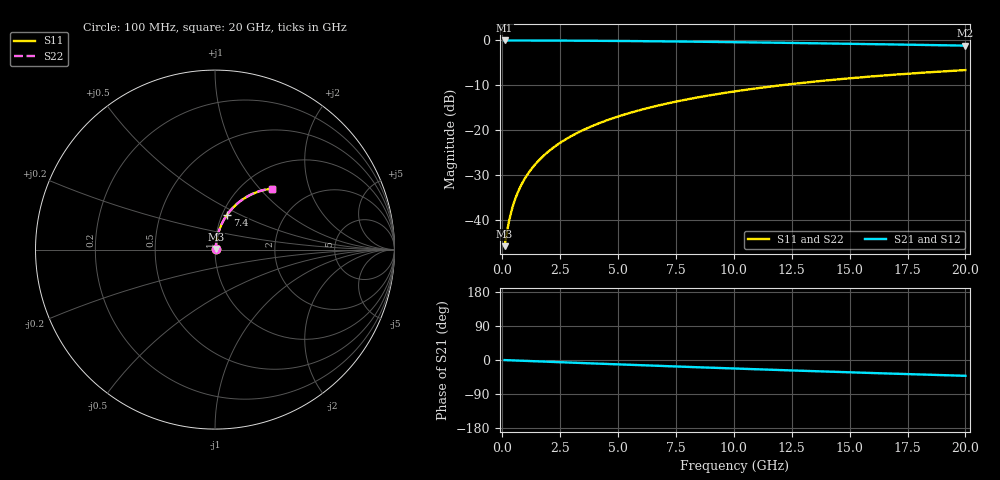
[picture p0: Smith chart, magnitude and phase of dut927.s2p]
! Touchstone file exported from HFSS 2026.1.0
!  File:  C:/ffzhzh/LocalFiles/Ansys_Project_Files/temp_train_BSMRDL_927_1783171851_51560.aedt
!  Generated:  09:32:03 PM Jul  4, 2026
!  Design:  BSMRDL
!  Project:  temp_train_BSMRDL_927_1783171851_51560
! Variables:
!  h_bsmrdl = 3.61um
!  h_ox = 20um
!  h_rdl = 5um
!  h_sub = 80um
!  h_tmrdl = 5um
!  h_tsv = 80um
!  h_via = 3um
!  l_bsmrdl = 544.67um
!  l_sub = 944.67um
!  l_tmrdl = 200um
!  m_sub = 200um
!  pitch = 48.61um
!  r_tsv = 6um
!  s_tmrdl = 10um
!  w_bsmrdl = 13.26um
!  w_sub = 500um
!  w_tmrdl = 12um
!  x_tsv_center1 = 206um
!  x_tsv_center2 = 763.93um
!  x_tsv_center3 = 975.93um
!  x_tsv_center4 = 1533.86um
!  x_tsv_center5 = 1745.86um
!  x_tsv_center6 = 2303.79um
# GHz S MA R 50.000000
! Terminal data exported
! Port[1] = BSM_RDL1_1_T1
! Port[2] = BSM_RDL1_1_T2
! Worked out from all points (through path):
!   200 points, 100 MHz to 20 GHz, reference 50 ohm
!   highest |S21| = -0.04 dB at 100 MHz (marker M1); lowest = -1.2 dB at 20 GHz (marker M2)
!   group delay of S21, straight-line fit = 5.8 ps
!   lowest |S11| = -45.9 dB at 100 MHz (marker M3), VSWR 1.01, Z = 50.4 + j0.303 ohm
!   |S11| at or under -10 dB: start of sweep to 12.07 GHz
!   |S22| runs from -45.9 to -6.6 dB; largest |S21 - S12| = 2.7e-15
!   S11 on the Smith chart (normalised r, x): 100 MHz: 1.01, +0.01; 7.4 GHz: 1.06, +0.43; 20 GHz: 1.35, +1.17
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0.1  0.005099 36.1  0.9959 -0.2  0.9959 -0.2  0.005099 36.1
! Gamma 0 0 0 0
! Port Impedance 50 0 50 0
0.2  0.007323 54.8  0.9958 -0.5  0.9958 -0.5  0.007323 54.8
0.3  0.009944 63.9  0.9957 -0.7  0.9957 -0.7  0.009944 63.9
0.4  0.01269 69.0  0.9956 -1.0  0.9956 -1.0  0.01269 69.0
0.5  0.01548 72.2  0.9955 -1.2  0.9955 -1.2  0.01548 72.2
0.6  0.01829 74.3  0.9953 -1.4  0.9953 -1.4  0.01829 74.3
0.8  0.02393 76.9  0.9951 -1.9  0.9951 -1.9  0.02393 76.9
1.1  0.03243 78.9  0.9947 -2.6  0.9947 -2.6  0.03242 78.9
1.5  0.04379 80.0  0.9941 -3.5  0.9941 -3.5  0.04379 80.0
1.8  0.05232 80.2  0.9936 -4.2  0.9936 -4.2  0.05232 80.2
2.1  0.06085 80.2  0.993 -4.9  0.993 -4.9  0.06084 80.2
2.7  0.07784 79.7  0.9916 -6.3  0.9916 -6.3  0.07784 79.7
3.5  0.1003 78.5  0.9892 -8.1  0.9892 -8.1  0.1003 78.6
4.2  0.1198 77.3  0.9866 -9.7  0.9866 -9.7  0.1198 77.3
5  0.1417 75.8  0.9833 -11.5  0.9833 -11.5  0.1417 75.8
6.8  0.1895 72.1  0.9742 -15.6  0.9742 -15.6  0.1895 72.1
7.4  0.205 70.8  0.9707 -16.9  0.9707 -16.9  0.205 70.9
8.7  0.2377 68.2  0.9625 -19.7  0.9625 -19.7  0.2376 68.2
10.1  0.2714 65.3  0.9529 -22.6  0.9529 -22.6  0.2714 65.4
13.4  0.3449 58.8  0.9277 -29.4  0.9277 -29.4  0.3449 58.9
16.7  0.4098 52.6  0.9004 -35.7  0.9004 -35.7  0.4098 52.7
20  0.4661 46.7  0.8725 -41.7  0.8725 -41.7  0.466 46.9
